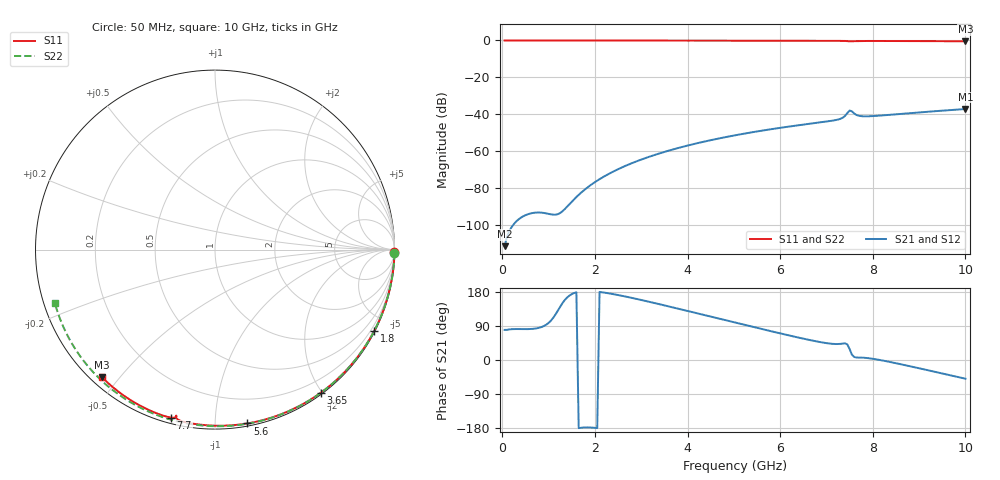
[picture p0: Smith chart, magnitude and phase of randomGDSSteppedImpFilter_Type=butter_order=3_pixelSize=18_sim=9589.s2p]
! freq	dB(S11)	phase(S11)	dB(S12)	phase(S12)
!  dB(S21)	phase(S21)	dB(S22)	phase(S22)
!S-par simulation data
#  GHz  S  DB  R 50
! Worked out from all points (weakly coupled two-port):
!   200 points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, 50 MHz to 10 GHz, reference 50 ohm
!   highest |S21| = -37.21 dB at 10 GHz (marker M1); lowest = -111.7 dB at 50 MHz (marker M2)
!   lowest |S11| = -0.4 dB at 10 GHz (marker M3), VSWR 38.70, Z = 1.55 - j22.5 ohm
!   |S11| at or under -10 dB: nowhere
!   |S22| runs from -0.5 to 0.0 dB; largest |S21 - S12| = 0
!   S11 on the Smith chart (normalised r, x): 50 MHz: open; 1.8 GHz: 0.04, -4.17; 3.65 GHz: 0.02, -1.99; 5.6 GHz: 0.02, -1.20; 7.7 GHz: 0.03, -0.77; 10 GHz: 0.03, -0.45
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0.05  -0.00 -0.8  -111.66 79.5  -111.66 79.5  -0.00 -0.9
0.85  -0.02 -12.9  -93.48 87.1  -93.48 87.1  -0.02 -16.0
1.75  -0.03 -26.2  -81.58 -178.2  -81.58 -178.2  -0.04 -32.6
1.8  -0.03 -27.0  -80.56 -178.0  -80.56 -178.0  -0.04 -33.5
1.85  -0.04 -27.7  -79.58 -178.0  -79.58 -178.0  -0.04 -34.4
2.2  -0.04 -32.8  -73.80 177.9  -73.80 177.9  -0.05 -40.7
2.55  -0.05 -37.9  -69.30 170.3  -69.30 170.3  -0.06 -46.9
2.95  -0.06 -43.6  -65.12 159.8  -65.12 159.8  -0.07 -53.9
3.4  -0.07 -49.9  -61.26 147.1  -61.26 147.1  -0.08 -61.7
3.65  -0.07 -53.4  -59.40 139.8  -59.40 139.8  -0.09 -65.9
4.3  -0.09 -62.3  -55.24 120.5  -55.24 120.5  -0.11 -76.7
5.05  -0.11 -72.3  -51.37 98.1  -51.37 98.1  -0.14 -88.7
5.6  -0.13 -79.4  -48.98 81.9  -48.98 81.9  -0.16 -97.2
6.7  -0.18 -93.3  -45.01 51.2  -45.01 51.2  -0.22 -113.8
7.3  -0.23 -100.9  -42.54 42.6  -42.54 42.6  -0.27 -122.5
7.4  -0.27 -102.4  -40.99 43.9  -40.99 43.9  -0.27 -124.0
7.5  -0.45 -103.2  -38.03 28.9  -38.03 28.9  -0.28 -125.4
7.7  -0.29 -104.7  -40.89 6.4  -40.89 6.4  -0.29 -128.3
7.9  -0.27 -107.2  -41.17 4.9  -41.17 4.9  -0.31 -131.2
8.35  -0.30 -112.6  -40.40 -4.6  -40.40 -4.6  -0.35 -137.7
9.2  -0.37 -122.4  -38.67 -27.2  -38.67 -27.2  -0.44 -149.9
10  -0.45 -131.5  -37.21 -49.4  -37.21 -49.4  -0.53 -161.5
